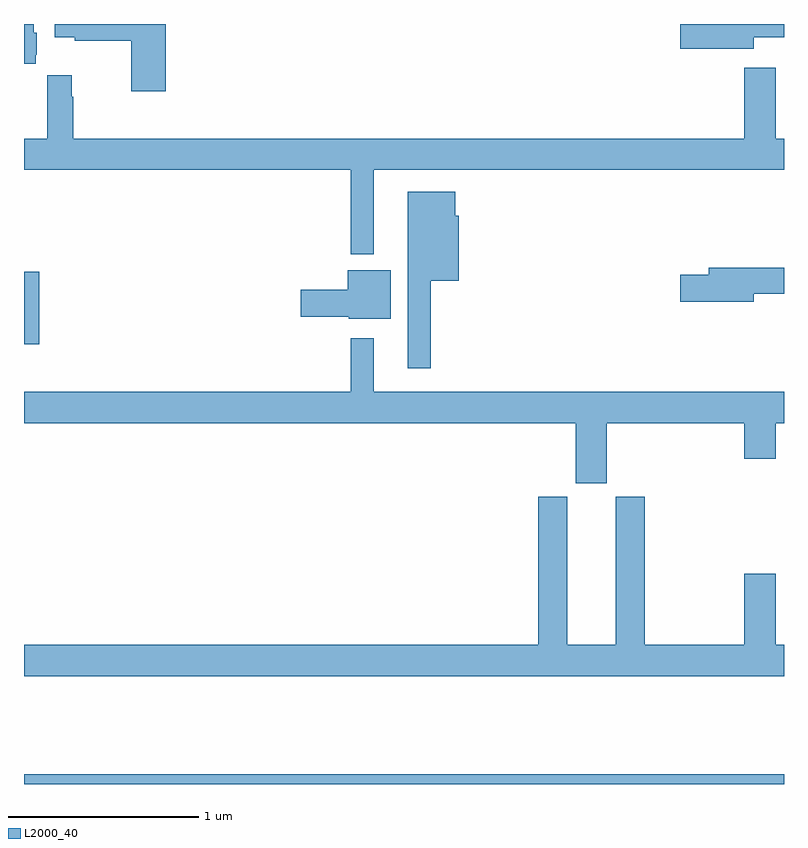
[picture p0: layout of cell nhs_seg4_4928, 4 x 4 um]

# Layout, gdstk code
import gdstk
lib = gdstk.Library(unit=1e-6, precision=1e-09)
def R(c, l, rs):  # rectangles x0, y0, x1, y1
    for r in rs: c.add(gdstk.rectangle(r[:2], r[2:], *l))
def P(c, l, *ps):  # polygons
    for p in ps: c.add(gdstk.Polygon(p, *l))
L2000_40 = (2000, 40)

nhs_seg4_4928 = lib.new_cell('nhs_seg4_4928')
R(nhs_seg4_4928, L2000_40, [(377,814.9,381,814.952), (377,817.215,377.081,817.596)])
P(nhs_seg4_4928, L2000_40, [(380.842,818.831),(381,818.831),(381,818.9),(380.454,818.9),(380.454,818.77),(380.842,818.77)],
  [(377.747,818.9),(377.162,818.9),(377.162,818.831),(377.266,818.831),(377.266,818.812),(377.564,818.812),(377.564,818.547),(377.747,818.547)],
  [(377.063,818.739),(377.068,818.739),(377.068,818.853),(377.05,818.853),(377.05,818.9),(377,818.9),(377,818.69),(377.063,818.69)],
  [(378.841,818.132),(381,818.132),(381,818.296),(380.956,818.296),(380.956,818.671),(380.792,818.671),(380.792,818.296),(377.258,818.296),(377.258,818.516),(377.251,818.516),(377.251,818.629),(377.122,818.629),(377.122,818.296),(377,818.296),(377,818.132),(378.72,818.132),(378.72,817.688),(378.841,817.688)],
  [(379.141,817.55),(379.288,817.55),(379.288,817.89),(379.27,817.89),(379.27,818.017),(379.019,818.017),(379.019,817.089),(379.141,817.089)],
  [(380.842,817.48),(381,817.48),(381,817.616),(380.603,817.616),(380.603,817.58),(380.454,817.58),(380.454,817.438),(380.842,817.438)],
  [(378.931,817.603),(378.704,817.603),(378.704,817.502),(378.456,817.502),(378.456,817.36),(378.708,817.36),(378.708,817.349),(378.931,817.349)],
  [(380.068,816.8),(380.792,816.8),(380.792,816.612),(380.956,816.612),(380.956,816.8),(381,816.8),(381,816.964),(378.841,816.964),(378.841,817.246),(378.72,817.246),(378.72,816.964),(377,816.964),(377,816.8),(379.904,816.8),(379.904,816.483),(380.068,816.483)],
  [(381,815.632),(380.956,815.632),(380.956,816.007),(380.792,816.007),(380.792,815.632),(380.267,815.632),(380.267,816.411),(380.114,816.411),(380.114,815.632),(379.858,815.632),(379.858,816.411),(379.706,816.411),(379.706,815.632),(377,815.632),(377,815.468),(381,815.468)])

lib.write_gds('nhs_seg4_4928.gds')
